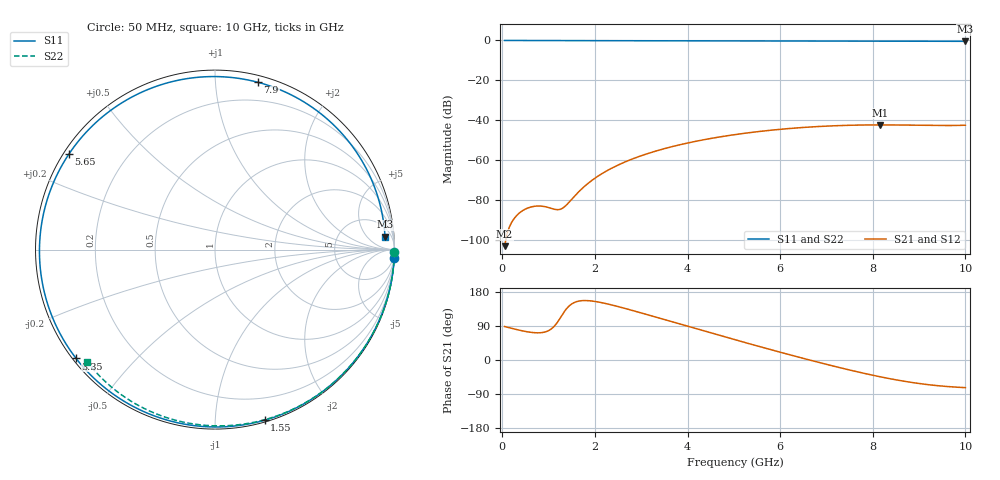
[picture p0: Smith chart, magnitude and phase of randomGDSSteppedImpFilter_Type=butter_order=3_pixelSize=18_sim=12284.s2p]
! freq	dB(S11)	phase(S11)	dB(S12)	phase(S12)
!  dB(S21)	phase(S21)	dB(S22)	phase(S22)
!S-par simulation data
#  GHz  S  DB  R 50
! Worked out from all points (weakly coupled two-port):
!   200 points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, 50 MHz to 10 GHz, reference 50 ohm
!   highest |S21| = -42.29 dB at 8.15 GHz (marker M1); lowest = -103.0 dB at 50 MHz (marker M2)
!   lowest |S11| = -0.4 dB at 10 GHz (marker M3), VSWR 39.00, Z = 611 + j904 ohm
!   |S11| at or under -10 dB: nowhere
!   |S22| runs from -0.5 to 0.0 dB; largest |S21 - S12| = 0
!   S11 on the Smith chart (normalised r, x): 50 MHz: 0, -45; 1.55 GHz: 0.01, -1.33; 3.35 GHz: 0.01, -0.35; 5.65 GHz: 0.02, +0.30; 7.9 GHz: 0.05, +1.29; 10 GHz: 12, +18
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0.05  -0.00 -2.5  -103.01 88.4  -103.01 88.4  -0.00 -0.8
0.45  -0.03 -22.5  -85.06 76.5  -85.06 76.5  -0.01 -7.2
0.85  -0.05 -41.9  -82.98 72.2  -82.98 72.2  -0.02 -13.6
1.45  -0.08 -69.4  -80.80 143.3  -80.80 143.3  -0.03 -23.0
1.55  -0.09 -73.8  -78.21 151.4  -78.21 151.4  -0.03 -24.6
1.75  -0.09 -82.3  -73.57 156.8  -73.57 156.8  -0.04 -27.7
2.05  -0.11 -94.6  -68.20 153.5  -68.20 153.5  -0.04 -32.3
2.4  -0.12 -108.2  -63.52 144.1  -63.52 144.1  -0.05 -37.7
2.9  -0.13 -126.5  -58.55 127.7  -58.55 127.7  -0.06 -45.2
3.35  -0.15 -141.9  -55.15 111.9  -55.15 111.9  -0.07 -51.9
3.4  -0.15 -143.6  -54.82 110.2  -54.82 110.2  -0.07 -52.7
4.2  -0.18 -169.1  -50.39 82.0  -50.39 82.0  -0.09 -64.2
5.05  -0.21 164.9  -47.06 52.6  -47.06 52.6  -0.12 -76.1
5.65  -0.24 146.8  -45.32 32.2  -45.32 32.2  -0.14 -84.3
6.2  -0.27 130.0  -44.09 14.0  -44.09 14.0  -0.16 -91.6
6.7  -0.29 114.5  -43.26 -2.1  -43.26 -2.1  -0.19 -98.1
7.3  -0.31 95.3  -42.61 -20.6  -42.61 -20.6  -0.23 -105.7
7.9  -0.33 75.6  -42.31 -37.6  -42.31 -37.6  -0.27 -113.2
8.15  -0.34 67.2  -42.29 -44.1  -42.29 -44.1  -0.29 -116.3
8.35  -0.35 60.4  -42.30 -48.9  -42.30 -48.9  -0.30 -118.7
9.2  -0.39 31.5  -42.55 -65.1  -42.55 -65.1  -0.38 -129.1
10  -0.45 4.4  -42.44 -73.0  -42.44 -73.0  -0.47 -138.8
